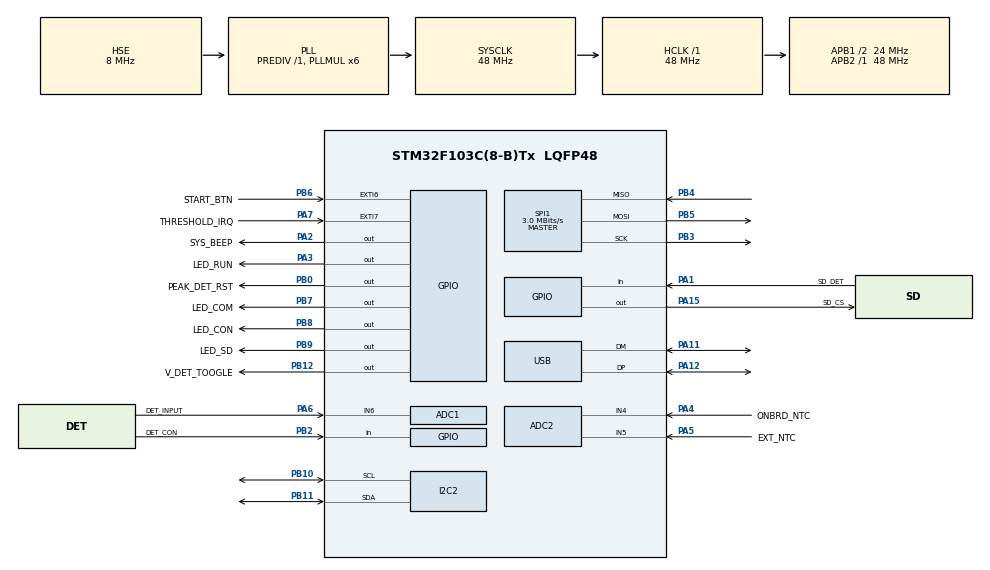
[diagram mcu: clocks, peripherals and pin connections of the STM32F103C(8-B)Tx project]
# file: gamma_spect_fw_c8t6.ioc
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ADC1.Channel-1\#ChannelRegularConversion=ADC_CHANNEL_6
ADC1.NbrOfConversion=1
ADC1.NbrOfConversionFlag=1
ADC1.Rank-1\#ChannelRegularConversion=1
ADC1.SamplingTime-1\#ChannelRegularConversion=ADC_SAMPLETIME_1CYCLE_5
ADC1.master=1
ADC2.Channel-2\#ChannelRegularConversion=ADC_CHANNEL_5
ADC2.NbrOfConversionFlag=1
ADC2.Rank-2\#ChannelRegularConversion=1
ADC2.SamplingTime-2\#ChannelRegularConversion=ADC_SAMPLETIME_1CYCLE_5
FATFS._FS_MINIMIZE=0
FATFS._FS_TINY=1
FATFS._MAX_SS=1024
FATFS._USE_LFN=1
Mcu.Family=STM32F1
Mcu.Name=STM32F103C(8-B)Tx
Mcu.Package=LQFP48
NVIC.EXTI9_5_IRQn=true\:0\:0\:false\:false\:true\:true\:true
NVIC.PriorityGroup=NVIC_PRIORITYGROUP_4
NVIC.USB_LP_CAN1_RX0_IRQn=true\:0\:0\:false\:false\:true\:false\:true
PA1.GPIO_Label=SD_DET
PA1.GPIO_PuPd=GPIO_PULLUP
PA1.Signal=GPIO_Input
PA11.Mode=Device
PA11.Signal=USB_DM
PA12.Mode=Device
PA12.Signal=USB_DP
PA13.Mode=Serial_Wire
PA13.Signal=SYS_JTMS-SWDIO
PA14.Mode=Serial_Wire
PA14.Signal=SYS_JTCK-SWCLK
PA15.GPIO_Label=SD_CS
PA15.GPIO_PuPd=GPIO_NOPULL
PA15.Signal=GPIO_Output
PA2.GPIO_Label=SYS_BEEP
PA2.Signal=GPIO_Output
PA3.GPIO_Label=LED_RUN
PA3.GPIO_PuPd=GPIO_PULLDOWN
PA3.Signal=GPIO_Output
PA4.GPIO_Label=ONBRD_NTC
PA4.Signal=ADCx_IN4
PA5.GPIO_Label=EXT_NTC
PA5.Signal=ADCx_IN5
PA6.GPIO_Label=DET_INPUT
PA6.Signal=ADCx_IN6
PA7.GPIO_Label=THRESHOLD_IRQ
PA7.GPIO_ModeDefaultEXTI=GPIO_MODE_IT_FALLING
PA7.GPIO_PuPd=GPIO_PULLUP
PA7.Signal=GPXTI7
PB0.GPIO_Label=PEAK_DET_RST
PB0.GPIO_PuPd=GPIO_PULLDOWN
PB0.GPIO_Speed=GPIO_SPEED_FREQ_HIGH
PB0.Signal=GPIO_Output
PB10.Mode=I2C
PB10.Signal=I2C2_SCL
PB11.Mode=I2C
PB11.Signal=I2C2_SDA
PB12.GPIO_Label=V_DET_TOOGLE
PB12.GPIO_PuPd=GPIO_PULLUP
PB12.PinState=GPIO_PIN_SET
PB12.Signal=GPIO_Output
PB2.GPIO_Label=DET_CON
PB2.GPIO_PuPd=GPIO_PULLDOWN
PB2.Signal=GPIO_Input
PB3.Mode=Full_Duplex_Master
PB3.Signal=SPI1_SCK
PB4.Mode=Full_Duplex_Master
PB4.Signal=SPI1_MISO
PB5.Mode=Full_Duplex_Master
PB5.Signal=SPI1_MOSI
PB6.GPIO_Label=START_BTN
PB6.GPIO_ModeDefaultEXTI=GPIO_MODE_IT_RISING
PB6.Signal=GPXTI6
PB7.GPIO_Label=LED_COM
PB7.GPIO_PuPd=GPIO_PULLDOWN
PB7.GPIO_Speed=GPIO_SPEED_FREQ_HIGH
PB7.Signal=GPIO_Output
PB8.GPIO_Label=LED_CON
PB8.GPIO_PuPd=GPIO_PULLDOWN
PB8.PinState=GPIO_PIN_RESET
PB8.Signal=GPIO_Output
PB9.GPIO_Label=LED_SD
PB9.GPIO_PuPd=GPIO_PULLDOWN
PB9.PinState=GPIO_PIN_RESET
PB9.Signal=GPIO_Output
PD0-OSC_IN.Mode=HSE-External-Oscillator
PD0-OSC_IN.Signal=RCC_OSC_IN
PD1-OSC_OUT.Mode=HSE-External-Oscillator
PD1-OSC_OUT.Signal=RCC_OSC_OUT
ProjectManager.HeapSize=0x200
ProjectManager.StackSize=0x400
ProjectManager.TargetToolchain=STM32CubeIDE
RCC.ADCPresc=RCC_ADCPCLK2_DIV4
RCC.AHBFreq_Value=48000000
RCC.APB1CLKDivider=RCC_HCLK_DIV2
RCC.APB1Freq_Value=24000000
RCC.APB1TimFreq_Value=48000000
RCC.APB2Freq_Value=48000000
RCC.APB2TimFreq_Value=48000000
RCC.HCLKFreq_Value=48000000
RCC.PLLMUL=RCC_PLL_MUL6
RCC.PLLSourceVirtual=RCC_PLLSOURCE_HSE
RCC.SYSCLKFreq_VALUE=48000000
RCC.SYSCLKSource=RCC_SYSCLKSOURCE_PLLCLK
RCC.USBFreq_Value=48000000
RTC.Year=20
SH.ADCx_IN4.0=ADC2_IN4,IN4
SH.ADCx_IN4.1=ADC1_IN4
SH.ADCx_IN5.0=ADC2_IN5,IN5
SH.ADCx_IN6.0=ADC1_IN6,IN6
SPI1.BaudRatePrescaler=SPI_BAUDRATEPRESCALER_16
SPI1.CalculateBaudRate=3.0 MBits/s
SPI1.Direction=SPI_DIRECTION_2LINES
SPI1.Mode=SPI_MODE_MASTER
SPI1.VirtualType=VM_MASTER
TIM1.Prescaler=48+1
USB_DEVICE.CLASS_NAME_FS=CDC
USB_DEVICE.USBD_MAX_STR_DESC_SIZ=64
USB_DEVICE.VirtualMode=Cdc
USB_DEVICE.VirtualModeFS=Cdc_FS
VP_FATFS_VS_Generic.Mode=User_defined
VP_RTC_VS_RTC_Activate.Mode=RTC_Enabled
VP_RTC_VS_RTC_Calendar.Mode=RTC_Calendar
VP_TIM1_VS_ClockSourceINT.Mode=Internal
VP_USB_DEVICE_VS_USB_DEVICE_CDC_FS.Mode=CDC_FS
board=custom

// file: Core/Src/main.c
/* USER CODE BEGIN Header */
/**
  ******************************************************************************
  * @file           : main.c
  * @brief          : Main program body
  ******************************************************************************
  * @attention
  *
  * Copyright (c) 2022 STMicroelectronics.
  * All rights reserved.
  *
  * This software is licensed under terms that can be found in the LICENSE file
  * in the root directory of this software component.
  * If no LICENSE file comes with this software, it is provided AS-IS.
  *
  ******************************************************************************
  */
/* USER CODE END Header */
#include "main.h"
#include "fatfs.h"
#include "usb_device.h"

/* USER CODE BEGIN Includes */
#include "usbd_cdc_if.h"
#include "stm32f1xx_it.h"
#include "math.h"
#include <inttypes.h>
/* USER CODE END Includes */

/* USER CODE BEGIN PTD */

//EEPROM I2C defines////////////////////////////////////////////////////////////
#define ONBRD_EEPROM_READ_ADDR  0xAD
#define ONBRD_EEPROM_WRITE_ADDR 0xAC

#define DET_EEPROM_READ_ADDR	0xAF
#define DET_EEPROM_WRITE_ADDR	0xAE

#define MAX_PAGE_SIZE 0x0F
#define MAX_PAGE_NUMBER 0x0F
////////////////////////////////////////////////////////////////////////////////

#define DET_TYPE_CONST_ADDR 	 0x00
#define SCI_TYPE_CONST_ADDR    0x10

/* USER CODE END PTD */

/* USER CODE BEGIN PD */
FATFS fs;
FIL fil;
/* USER CODE END PD */

ADC_HandleTypeDef hadc1;
ADC_HandleTypeDef hadc2;

I2C_HandleTypeDef hi2c2;

RTC_HandleTypeDef hrtc;

SPI_HandleTypeDef hspi1;

TIM_HandleTypeDef htim1;

void SystemClock_Config(void);
static void MX_GPIO_Init(void);
static void MX_ADC1_Init(void);
static void MX_ADC2_Init(void);
static void MX_I2C2_Init(void);
static void MX_SPI1_Init(void);
static void MX_RTC_Init(void);
static void MX_TIM1_Init(void);

/* USER CODE BEGIN 0 */
char vcp_command[32];
char vcp_data[32];

volatile struct Sensor_Data
{
	uint16_t channel_count;
	uint8_t  channel_count_ovf;

}sensor_data[2048];

volatile uint32_t DET_VALUE = 0;
volatile uint8_t meas_start = 0;
volatile uint8_t data_ready = 0;
volatile uint32_t sys_tick_ms = 0;
char file_name[64];

void HAL_GPIO_EXTI_Callback(uint16_t GPIO_Pin)
{
	//start/stop button pressed
    if(GPIO_Pin == START_BTN_Pin)
    {
    	//meas_start = 0 -> wait
    	//meas_start = 1 -> start measurment cycle
    	//meas_start = 2 -> stop measurment cycle
        meas_start++;
    }
    if((GPIO_Pin == THRESHOLD_IRQ_Pin)&&(meas_start == 1))
    {
    	//notify the main loop to measure detector signal
    	if(data_ready == 0)data_ready++;
    }
}
void delay_us (uint16_t us)
{
	__HAL_TIM_SET_COUNTER(&htim1,0);  // set the counter value a 0
	while (__HAL_TIM_GET_COUNTER(&htim1) < us);  // wait for the counter to reach the us input in the parameter
}

/* USER CODE END 0 */

int main(void)
{

  /* MCU Configuration--------------------------------------------------------*/

  /* Reset of all peripherals, Initializes the Flash interface and the Systick. */
  HAL_Init();

  /* Configure the system clock */
  SystemClock_Config();

  /* Initialize all configured peripherals */
  MX_GPIO_Init();
  MX_ADC1_Init();
  MX_ADC2_Init();
  MX_I2C2_Init();
  MX_SPI1_Init();
  MX_FATFS_Init();
  MX_RTC_Init();
  MX_USB_DEVICE_Init();
  MX_TIM1_Init();
  /* USER CODE BEGIN 2 */
  char sd_buffer[40] = "0123456789ABCDEF0123456789ABCDEF\n";
  char meas_start_time[40];
  char meas_end_time[40];
  char file_name_buff[32] = "noname";

  HAL_ADCEx_Calibration_Start(&hadc1);
  HAL_ADCEx_Calibration_Start(&hadc2);

  //HAL_RTCEx_BKUPRead(&hrtc, RTC_BKP_DR1);
  HAL_TIM_Base_Start(&htim1);

  /* USER CODE END 2 */

  /* Infinite loop */
  while(1)
  {

    /* USER CODE BEGIN 3 */

	  //blink status led
	  if(sys_tick_ms >= 100)
	  {
		  sys_tick_ms = 0;
		  HAL_GPIO_TogglePin(GPIOA, GPIO_PIN_3);
		  //HAL_RTCEx_BKUPWrite(&hrtc, RTC_BKP_DR1, 0xFFFF); // backup register

		  //check if the detector is connected/////////////////////////////////
/*
		  if(HAL_GPIO_ReadPin(GPIOB, GPIO_PIN_2) == 1)
		  {
			  HAL_GPIO_WritePin(GPIOB, GPIO_PIN_8, GPIO_PIN_SET);
			  HAL_GPIO_WritePin(GPIOB, GPIO_PIN_12, GPIO_PIN_SET);
		  }
		  else
		  {
			  HAL_GPIO_WritePin(GPIOB, GPIO_PIN_8, GPIO_PIN_RESET);
			  HAL_GPIO_WritePin(GPIOB, GPIO_PIN_12, GPIO_PIN_RESET);
		  }
*/
		  ////////////////////////////////////////////////////////////////////
	  }
	  /////////////////////////////////////////////////////////////////////////////////

	  //command fetch from virtual com ports///////////////////////////////////////////

	  //start measurment///////////////////////////////////////////////////////////////
	  if(strcmp(vcp_command,"start") == 0)
	  {
		 if(meas_start == 0)
		 {
			 memcpy(file_name_buff,vcp_data,sizeof(vcp_data));

			 RTC_DateTypeDef gDate;
			 RTC_TimeTypeDef gTime;
			 HAL_RTC_GetTime(&hrtc, &gTime, RTC_FORMAT_BIN);
			 HAL_RTC_GetDate(&hrtc, &gDate, RTC_FORMAT_BIN);
			 sprintf(file_name,"%s_%2d-%02d-%02d-%02d-%02d-%02d.txt",file_name_buff,2000 + gDate.Year,gDate.Month,gDate.Date,gTime.Hours, gTime.Minutes, gTime.Seconds);
			 sprintf(meas_start_time,"%2d-%02d-%02d-%02d-%02d-%02d",2000 + gDate.Year,gDate.Month,gDate.Date,gTime.Hours, gTime.Minutes, gTime.Seconds);

			 HAL_GPIO_WritePin(GPIOB, GPIO_PIN_9, GPIO_PIN_SET);
			 meas_start = 1;
		 }
		 else; //valami hibaüzenetet visszaírni opcionálisan

	        memset(vcp_command,'0',sizeof(vcp_command));
	  }
	  ////////////////////////////////////////////////////////////////////////////////

	  //stop measurment////////////////////////////////////////////////////////////////
	  else if(strcmp(vcp_command,"stop") == 0)
	  {
		  if(meas_start == 1)meas_start = 2;
		  else; //valami hibaüzenetet visszaírni opcionálisan

	        memset(vcp_command,'0',sizeof(vcp_command));
	  }
	  ////////////////////////////////////////////////////////////////////////////////////

	  //write detector type to eeprom/////////////////////////////////////////////////////////////
	 /* else if(strcmp(vcp_command,"eeprom_write_det") == 0)
	  {
         HAL_I2C_Mem_Write(&hi2c2,DET_EEPROM_WRITE_ADDR,DET_TYPE_CONST_ADDR,I2C_MEMADD_SIZE_8BIT ,(uint8_t*)vcp_data,16,HAL_MAX_DELAY);
         HAL_Delay(50);

	     memset(vcp_command,'0',sizeof(vcp_command));
	  }
	 */ //////////////////////////////////////////////////////////////////////////////////////////

	  //write scintillator type to eeprom/////////////////////////////////////////////////////////////
	 /* else if(strcmp(vcp_command,"eeprom_write_sci") == 0)
	  {
         HAL_I2C_Mem_Write(&hi2c2,DET_EEPROM_WRITE_ADDR,SCI_TYPE_CONST_ADDR,I2C_MEMADD_SIZE_8BIT ,(uint8_t*)vcp_data,16,HAL_MAX_DELAY);
         HAL_Delay(50);

	     memset(vcp_command,'0',sizeof(vcp_command));
	  }
	  *///////////////////////////////////////////////////////////////////////////////////////////

	  //read data from eeprom
     /* else if(strcmp(vcp_command,"eeprom_read") == 0)
      {
    	 char buffer[32] = "";
    	 uint8_t det_type[15] ="";
         uint8_t sci_type[15] ="";

         HAL_I2C_Mem_Read(&hi2c2,DET_EEPROM_READ_ADDR,DET_TYPE_CONST_ADDR,I2C_MEMADD_SIZE_8BIT ,det_type,16,HAL_MAX_DELAY);
         HAL_Delay(50);
         HAL_I2C_Mem_Read(&hi2c2,DET_EEPROM_READ_ADDR,SCI_TYPE_CONST_ADDR,I2C_MEMADD_SIZE_8BIT ,sci_type,16,HAL_MAX_DELAY);

         sprintf(buffer,"%s %s\n",det_type,sci_type);

         CDC_Transmit_FS((char*)buffer,sizeof(buffer));
         memset(vcp_command,'0',sizeof(vcp_command));
      }*/
	  ////////////////////////////////////////////////////////////////////////////////////////

	  //read temperature data////////////////////////////////////////////////////////////
	  else if(strcmp(vcp_command,"temp") == 0)
	  {
		  volatile int16_t AD_RES = 0;
		  char buffer[5];
	       // Start ADC Conversion
	        HAL_ADC_Start(&hadc2);
	       // Poll ADC1 Perihperal & TimeOut = 1mSec
	        HAL_ADC_PollForConversion(&hadc2, 10);
	        AD_RES = HAL_ADC_GetValue(&hadc2);

	        sprintf(buffer,"%d\n",AD_RES);

	        CDC_Transmit_FS(buffer, sizeof(buffer));
	        HAL_Delay(1);

	        memset(vcp_command,'0',sizeof(vcp_command));

	  }

	  //set date time
	  else if(strcmp(vcp_command,"set_time") == 0)
	  {
		  RTC_TimeTypeDef sTime;
		  RTC_DateTypeDef sDate;

		  unsigned int hours,mins,sec,date,month,year;

		  sscanf(vcp_data,"%d-%d-%d-%d-%d-%d",&year,&month,&date,&hours, &mins,&sec);

		  sTime.Hours = (uint8_t)hours;
		  sTime.Minutes = (uint8_t)mins;
		  sTime.Seconds = (uint8_t)sec;
		  sDate.Date = (uint8_t)date;
		  sDate.Month = (uint8_t)month;
		  sDate.Year = (uint8_t)year;

		  HAL_RTC_SetTime(&hrtc, &sTime, RTC_FORMAT_BIN);
		  HAL_RTC_SetDate(&hrtc, &sDate, RTC_FORMAT_BIN);

	        memset(vcp_command,'0',sizeof(vcp_command));
	  }
	  /////////////////////////////////////////////////////////////////////////

	  //set file_name
	  else if(strcmp(vcp_command,"set_file_name") == 0)
	  {

		  memset(file_name_buff,'\0',sizeof(file_name_buff));
		  memcpy(file_name_buff,vcp_data,sizeof(vcp_data));

	      memset(vcp_command,'0',sizeof(vcp_command));
	  }
	  ////////////////////////////////////////////////////////////////////////

	  //get date time
	  else if(strcmp(vcp_command,"get_time") == 0)
	  {
		  char time[19];
		  memset(time,'0',sizeof(time));

		  RTC_DateTypeDef gDate;
		  RTC_TimeTypeDef gTime;
		  HAL_RTC_GetTime(&hrtc, &gTime, RTC_FORMAT_BIN);
		  HAL_RTC_GetDate(&hrtc, &gDate, RTC_FORMAT_BIN);
		  sprintf(time,"%2d-%02d-%02d-%02d-%02d-%02d",2000 + gDate.Year,gDate.Month,gDate.Date,gTime.Hours, gTime.Minutes, gTime.Seconds);

	      CDC_Transmit_FS(time, sizeof(time));

	      memset(vcp_command,'0',sizeof(vcp_command));
	  }
	  ///////////////////////////////////////////////////////////////////////////

	 //start data logging////////////////////////////////////////////////////////
	 // if(meas_start == 1)
	 // {
	 //	 HAL_GPIO_WritePin(GPIOB, GPIO_PIN_9, GPIO_PIN_SET);

	 // }
	 ////////////////////////////////////////////////////////////////////////////

	 //data logging stopped//////////////////////////////////////////////////////
	 if(meas_start == 2)
	 {
		 //memset(file_name,'\0',sizeof(file_name));

	     CDC_Transmit_FS(file_name, sizeof(file_name));

	     //mount sd card
		 f_mount(&fs, "", 0);
		 f_open(&fil, file_name, FA_OPEN_ALWAYS | FA_WRITE);
		 f_lseek(&fil, fil.fsize);

		 //write detector and scintillator type in the first row
    	/* uint8_t det_type[15] ="";
         uint8_t sci_type[15] ="";

         HAL_I2C_Mem_Read(&hi2c2,DET_EEPROM_READ_ADDR,DET_TYPE_CONST_ADDR,I2C_MEMADD_SIZE_8BIT ,det_type,15,HAL_MAX_DELAY);
         HAL_Delay(50);
         HAL_I2C_Mem_Read(&hi2c2,DET_EEPROM_READ_ADDR,SCI_TYPE_CONST_ADDR,I2C_MEMADD_SIZE_8BIT ,sci_type,15,HAL_MAX_DELAY);

         sprintf(sd_buffer,"%s;%s\n",det_type,sci_type);
         f_puts(sd_buffer, &fil);
        */ ////////////////////////////////////////////////////////////////

         //write start and stop time to the second row
         RTC_DateTypeDef gDate;
         RTC_TimeTypeDef gTime;
         HAL_RTC_GetTime(&hrtc, &gTime, RTC_FORMAT_BIN);
         HAL_RTC_GetDate(&hrtc, &gDate, RTC_FORMAT_BIN);
         sprintf(meas_end_time,"%2d-%02d-%02d-%02d-%02d-%02d",2000 + gDate.Year,gDate.Month,gDate.Date,gTime.Hours, gTime.Minutes, gTime.Seconds);

		 sprintf(sd_buffer,"%s;%s\n",meas_start_time,meas_end_time);
		 f_puts(sd_buffer, &fil);
		 ///////////////////////////////////////////////////////////////

		 //write measured data
		 for (int i = 0;i < 2048;i++)
		 {
			sprintf(sd_buffer,"%d;%d\n",sensor_data[i].channel_count,sensor_data[i].channel_count_ovf);
		    f_puts(sd_buffer, &fil);
		 }

		 f_close(&fil);

		 f_mount(NULL, "", 0);

		 meas_start = 0;
		 HAL_GPIO_WritePin(GPIOB, GPIO_PIN_9, GPIO_PIN_RESET);
	 }
	 //////////////////////////////////////////////////////////////////////////////

	 if(data_ready == 1)
	 {
		 //HAL_Delay(1);
		 delay_us(5);
		 DET_VALUE = 0;
		HAL_GPIO_TogglePin(GPIOB, GPIO_PIN_7);

		 HAL_ADC_Start(&hadc1);
		 HAL_ADC_PollForConversion(&hadc1,5);
		 DET_VALUE = HAL_ADC_GetValue(&hadc1);
		HAL_GPIO_TogglePin(GPIOB, GPIO_PIN_7);

		 DET_VALUE = DET_VALUE/2;

		 //short capacitor in the peak detector
		  //

		  if(sensor_data[DET_VALUE].channel_count == 65535)
		  {
		  	  sensor_data[DET_VALUE].channel_count = 0;
		  	  sensor_data[DET_VALUE].channel_count_ovf++;
		  }
		  else
		  {
		  	  sensor_data[DET_VALUE].channel_count++;
		  }

		  //rövidzár megszüntetése
		  HAL_GPIO_WritePin(GPIOB, GPIO_PIN_0, GPIO_PIN_SET);

		  delay_us(20);
		  //HAL_Delay(1);
		  HAL_GPIO_WritePin(GPIOB, GPIO_PIN_0, GPIO_PIN_RESET);
		  data_ready = 0;
	 }

  }
  /* USER CODE END 3 */
}

void SystemClock_Config(void)
{
  RCC_OscInitTypeDef RCC_OscInitStruct = {0};
  RCC_ClkInitTypeDef RCC_ClkInitStruct = {0};
  RCC_PeriphCLKInitTypeDef PeriphClkInit = {0};

  /** Initializes the RCC Oscillators according to the specified parameters
  * in the RCC_OscInitTypeDef structure.
  */
  RCC_OscInitStruct.OscillatorType = RCC_OSCILLATORTYPE_LSI|RCC_OSCILLATORTYPE_HSE;
  RCC_OscInitStruct.HSEState = RCC_HSE_ON;
  RCC_OscInitStruct.HSEPredivValue = RCC_HSE_PREDIV_DIV1;
  RCC_OscInitStruct.HSIState = RCC_HSI_ON;
  RCC_OscInitStruct.LSIState = RCC_LSI_ON;
  RCC_OscInitStruct.PLL.PLLState = RCC_PLL_ON;
  RCC_OscInitStruct.PLL.PLLSource = RCC_PLLSOURCE_HSE;
  RCC_OscInitStruct.PLL.PLLMUL = RCC_PLL_MUL6;
  if (HAL_RCC_OscConfig(&RCC_OscInitStruct) != HAL_OK)
  {
    Error_Handler();
  }
  /** Initializes the CPU, AHB and APB buses clocks
  */
  RCC_ClkInitStruct.ClockType = RCC_CLOCKTYPE_HCLK|RCC_CLOCKTYPE_SYSCLK
                              |RCC_CLOCKTYPE_PCLK1|RCC_CLOCKTYPE_PCLK2;
  RCC_ClkInitStruct.SYSCLKSource = RCC_SYSCLKSOURCE_PLLCLK;
  RCC_ClkInitStruct.AHBCLKDivider = RCC_SYSCLK_DIV1;
  RCC_ClkInitStruct.APB1CLKDivider = RCC_HCLK_DIV2;
  RCC_ClkInitStruct.APB2CLKDivider = RCC_HCLK_DIV1;

  if (HAL_RCC_ClockConfig(&RCC_ClkInitStruct, FLASH_LATENCY_1) != HAL_OK)
  {
    Error_Handler();
  }
  PeriphClkInit.PeriphClockSelection = RCC_PERIPHCLK_RTC|RCC_PERIPHCLK_ADC
                              |RCC_PERIPHCLK_USB;
  PeriphClkInit.RTCClockSelection = RCC_RTCCLKSOURCE_LSI;
  PeriphClkInit.AdcClockSelection = RCC_ADCPCLK2_DIV4;
  PeriphClkInit.UsbClockSelection = RCC_USBCLKSOURCE_PLL;
  if (HAL_RCCEx_PeriphCLKConfig(&PeriphClkInit) != HAL_OK)
  {
    Error_Handler();
  }
}

static void MX_ADC1_Init(void)
{

  ADC_ChannelConfTypeDef sConfig = {0};

  /** Common config
  */
  hadc1.Instance = ADC1;
  hadc1.Init.ScanConvMode = ADC_SCAN_DISABLE;
  hadc1.Init.ContinuousConvMode = DISABLE;
  hadc1.Init.DiscontinuousConvMode = DISABLE;
  hadc1.Init.ExternalTrigConv = ADC_SOFTWARE_START;
  hadc1.Init.DataAlign = ADC_DATAALIGN_RIGHT;
  hadc1.Init.NbrOfConversion = 1;
  if (HAL_ADC_Init(&hadc1) != HAL_OK)
  {
    Error_Handler();
  }
  /** Configure Regular Channel
  */
  sConfig.Channel = ADC_CHANNEL_6;
  sConfig.Rank = ADC_REGULAR_RANK_1;
  sConfig.SamplingTime = ADC_SAMPLETIME_1CYCLE_5;
  if (HAL_ADC_ConfigChannel(&hadc1, &sConfig) != HAL_OK)
  {
    Error_Handler();
  }

}

static void MX_ADC2_Init(void)
{

  ADC_ChannelConfTypeDef sConfig = {0};

  /** Common config
  */
  hadc2.Instance = ADC2;
  hadc2.Init.ScanConvMode = ADC_SCAN_DISABLE;
  hadc2.Init.ContinuousConvMode = DISABLE;
  hadc2.Init.DiscontinuousConvMode = DISABLE;
  hadc2.Init.ExternalTrigConv = ADC_SOFTWARE_START;
  hadc2.Init.DataAlign = ADC_DATAALIGN_RIGHT;
  hadc2.Init.NbrOfConversion = 1;
  if (HAL_ADC_Init(&hadc2) != HAL_OK)
  {
    Error_Handler();
  }
  /** Configure Regular Channel
  */
  sConfig.Channel = ADC_CHANNEL_5;
  sConfig.Rank = ADC_REGULAR_RANK_1;
  sConfig.SamplingTime = ADC_SAMPLETIME_1CYCLE_5;
  if (HAL_ADC_ConfigChannel(&hadc2, &sConfig) != HAL_OK)
  {
    Error_Handler();
  }

}

static void MX_I2C2_Init(void)
{

  hi2c2.Instance = I2C2;
  hi2c2.Init.ClockSpeed = 100000;
  hi2c2.Init.DutyCycle = I2C_DUTYCYCLE_2;
  hi2c2.Init.OwnAddress1 = 0;
  hi2c2.Init.AddressingMode = I2C_ADDRESSINGMODE_7BIT;
  hi2c2.Init.DualAddressMode = I2C_DUALADDRESS_DISABLE;
  hi2c2.Init.OwnAddress2 = 0;
  hi2c2.Init.GeneralCallMode = I2C_GENERALCALL_DISABLE;
  hi2c2.Init.NoStretchMode = I2C_NOSTRETCH_DISABLE;
  if (HAL_I2C_Init(&hi2c2) != HAL_OK)
  {
    Error_Handler();
  }

}

static void MX_RTC_Init(void)
{

  RTC_TimeTypeDef sTime = {0};
  RTC_DateTypeDef DateToUpdate = {0};

  /** Initialize RTC Only
  */
  hrtc.Instance = RTC;
  hrtc.Init.AsynchPrediv = RTC_AUTO_1_SECOND;
  hrtc.Init.OutPut = RTC_OUTPUTSOURCE_ALARM;
  if (HAL_RTC_Init(&hrtc) != HAL_OK)
  {
    Error_Handler();
  }

  /** Initialize RTC and set the Time and Date
  */
  sTime.Hours = 0x0;
  sTime.Minutes = 0x0;
  sTime.Seconds = 0x0;

  if (HAL_RTC_SetTime(&hrtc, &sTime, RTC_FORMAT_BCD) != HAL_OK)
  {
    Error_Handler();
  }
  DateToUpdate.WeekDay = RTC_WEEKDAY_MONDAY;
  DateToUpdate.Month = RTC_MONTH_JANUARY;
  DateToUpdate.Date = 0x1;
  DateToUpdate.Year = 0x20;

  if (HAL_RTC_SetDate(&hrtc, &DateToUpdate, RTC_FORMAT_BCD) != HAL_OK)
  {
    Error_Handler();
  }

}

static void MX_SPI1_Init(void)
{

  /* SPI1 parameter configuration*/
  hspi1.Instance = SPI1;
  hspi1.Init.Mode = SPI_MODE_MASTER;
  hspi1.Init.Direction = SPI_DIRECTION_2LINES;
  hspi1.Init.DataSize = SPI_DATASIZE_8BIT;
  hspi1.Init.CLKPolarity = SPI_POLARITY_LOW;
  hspi1.Init.CLKPhase = SPI_PHASE_1EDGE;
  hspi1.Init.NSS = SPI_NSS_SOFT;
  hspi1.Init.BaudRatePrescaler = SPI_BAUDRATEPRESCALER_16;
  hspi1.Init.FirstBit = SPI_FIRSTBIT_MSB;
  hspi1.Init.TIMode = SPI_TIMODE_DISABLE;
  hspi1.Init.CRCCalculation = SPI_CRCCALCULATION_DISABLE;
  hspi1.Init.CRCPolynomial = 10;
  if (HAL_SPI_Init(&hspi1) != HAL_OK)
  {
    Error_Handler();
  }

}

static void MX_TIM1_Init(void)
{

  TIM_ClockConfigTypeDef sClockSourceConfig = {0};
  TIM_MasterConfigTypeDef sMasterConfig = {0};

  htim1.Instance = TIM1;
  htim1.Init.Prescaler = 48+1;
  htim1.Init.CounterMode = TIM_COUNTERMODE_UP;
  htim1.Init.Period = 65535;
  htim1.Init.ClockDivision = TIM_CLOCKDIVISION_DIV1;
  htim1.Init.RepetitionCounter = 0;
  htim1.Init.AutoReloadPreload = TIM_AUTORELOAD_PRELOAD_DISABLE;
  if (HAL_TIM_Base_Init(&htim1) != HAL_OK)
  {
    Error_Handler();
  }
  sClockSourceConfig.ClockSource = TIM_CLOCKSOURCE_INTERNAL;
  if (HAL_TIM_ConfigClockSource(&htim1, &sClockSourceConfig) != HAL_OK)
  {
    Error_Handler();
  }
  sMasterConfig.MasterOutputTrigger = TIM_TRGO_RESET;
  sMasterConfig.MasterSlaveMode = TIM_MASTERSLAVEMODE_DISABLE;
  if (HAL_TIMEx_MasterConfigSynchronization(&htim1, &sMasterConfig) != HAL_OK)
  {
    Error_Handler();
  }

}

static void MX_GPIO_Init(void)
{
  GPIO_InitTypeDef GPIO_InitStruct = {0};

  /* GPIO Ports Clock Enable */
  __HAL_RCC_GPIOD_CLK_ENABLE();
  __HAL_RCC_GPIOA_CLK_ENABLE();
  __HAL_RCC_GPIOB_CLK_ENABLE();

  /*Configure GPIO pin Output Level */
  HAL_GPIO_WritePin(GPIOA, SYS_BEEP_Pin|LED_RUN_Pin|SD_CS_Pin, GPIO_PIN_RESET);

  /*Configure GPIO pin Output Level */
  HAL_GPIO_WritePin(GPIOB, PEAK_DET_RST_Pin|LED_COM_Pin|LED_CON_Pin|LED_SD_Pin, GPIO_PIN_RESET);

  /*Configure GPIO pin Output Level */
  HAL_GPIO_WritePin(V_DET_TOOGLE_GPIO_Port, V_DET_TOOGLE_Pin, GPIO_PIN_SET);

  /*Configure GPIO pin : SD_DET_Pin */
  GPIO_InitStruct.Pin = SD_DET_Pin;
  GPIO_InitStruct.Mode = GPIO_MODE_INPUT;
  GPIO_InitStruct.Pull = GPIO_PULLUP;
  HAL_GPIO_Init(SD_DET_GPIO_Port, &GPIO_InitStruct);

  /*Configure GPIO pins : SYS_BEEP_Pin SD_CS_Pin */
  GPIO_InitStruct.Pin = SYS_BEEP_Pin|SD_CS_Pin;
  GPIO_InitStruct.Mode = GPIO_MODE_OUTPUT_PP;
  GPIO_InitStruct.Pull = GPIO_NOPULL;
  GPIO_InitStruct.Speed = GPIO_SPEED_FREQ_LOW;
  HAL_GPIO_Init(GPIOA, &GPIO_InitStruct);

  /*Configure GPIO pin : LED_RUN_Pin */
  GPIO_InitStruct.Pin = LED_RUN_Pin;
  GPIO_InitStruct.Mode = GPIO_MODE_OUTPUT_PP;
  GPIO_InitStruct.Pull = GPIO_PULLDOWN;
  GPIO_InitStruct.Speed = GPIO_SPEED_FREQ_LOW;
  HAL_GPIO_Init(LED_RUN_GPIO_Port, &GPIO_InitStruct);

  /*Configure GPIO pin : THRESHOLD_IRQ_Pin */
  GPIO_InitStruct.Pin = THRESHOLD_IRQ_Pin;
  GPIO_InitStruct.Mode = GPIO_MODE_IT_FALLING;
  GPIO_InitStruct.Pull = GPIO_PULLUP;
  HAL_GPIO_Init(THRESHOLD_IRQ_GPIO_Port, &GPIO_InitStruct);

  /*Configure GPIO pins : PEAK_DET_RST_Pin LED_COM_Pin */
  GPIO_InitStruct.Pin = PEAK_DET_RST_Pin|LED_COM_Pin;
  GPIO_InitStruct.Mode = GPIO_MODE_OUTPUT_PP;
  GPIO_InitStruct.Pull = GPIO_PULLDOWN;
  GPIO_InitStruct.Speed = GPIO_SPEED_FREQ_HIGH;
  HAL_GPIO_Init(GPIOB, &GPIO_InitStruct);

  /*Configure GPIO pin : DET_CON_Pin */
  GPIO_InitStruct.Pin = DET_CON_Pin;
  GPIO_InitStruct.Mode = GPIO_MODE_INPUT;
  GPIO_InitStruct.Pull = GPIO_PULLDOWN;
  HAL_GPIO_Init(DET_CON_GPIO_Port, &GPIO_InitStruct);

  /*Configure GPIO pin : V_DET_TOOGLE_Pin */
  GPIO_InitStruct.Pin = V_DET_TOOGLE_Pin;
  GPIO_InitStruct.Mode = GPIO_MODE_OUTPUT_PP;
  GPIO_InitStruct.Pull = GPIO_PULLUP;
  GPIO_InitStruct.Speed = GPIO_SPEED_FREQ_LOW;
  HAL_GPIO_Init(V_DET_TOOGLE_GPIO_Port, &GPIO_InitStruct);

  /*Configure GPIO pin : START_BTN_Pin */
  GPIO_InitStruct.Pin = START_BTN_Pin;
  GPIO_InitStruct.Mode = GPIO_MODE_IT_RISING;
  GPIO_InitStruct.Pull = GPIO_NOPULL;
  HAL_GPIO_Init(START_BTN_GPIO_Port, &GPIO_InitStruct);

  /*Configure GPIO pins : LED_CON_Pin LED_SD_Pin */
  GPIO_InitStruct.Pin = LED_CON_Pin|LED_SD_Pin;
  GPIO_InitStruct.Mode = GPIO_MODE_OUTPUT_PP;
  GPIO_InitStruct.Pull = GPIO_PULLDOWN;
  GPIO_InitStruct.Speed = GPIO_SPEED_FREQ_LOW;
  HAL_GPIO_Init(GPIOB, &GPIO_InitStruct);

  /* EXTI interrupt init*/
  HAL_NVIC_SetPriority(EXTI9_5_IRQn, 0, 0);
  HAL_NVIC_EnableIRQ(EXTI9_5_IRQn);

}

void Error_Handler(void)
{
  __disable_irq();
  while (1)
  {
  }
}
